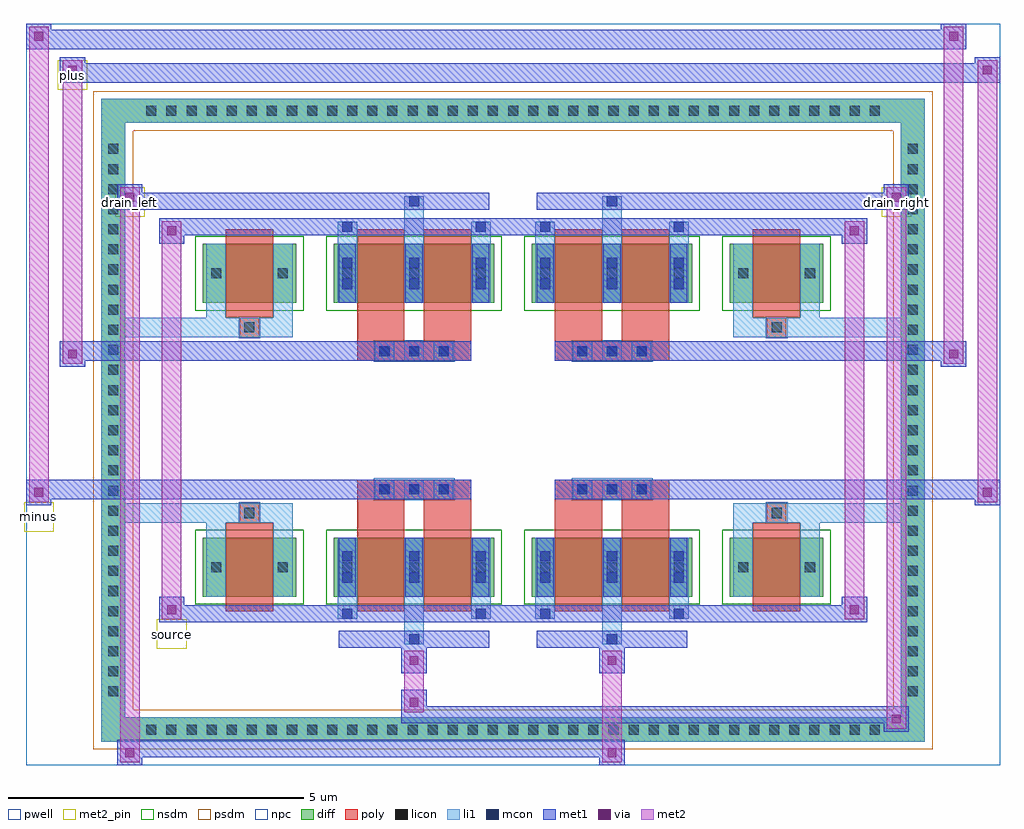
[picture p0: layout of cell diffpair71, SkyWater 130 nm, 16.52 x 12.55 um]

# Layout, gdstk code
import gdstk
lib = gdstk.Library(unit=1e-6, precision=5e-09)
def R(c, l, rs):  # rectangles x0, y0, x1, y1
    for r in rs: c.add(gdstk.rectangle(r[:2], r[2:], *l))
def A(c, l, x, y, w, h, nx, ny, dx, dy):  # array of equal rectangles
    R(c, l, [(x+i*dx, y+j*dy, x+i*dx+w, y+j*dy+h) for i in range(nx) for j in range(ny)])
def P(c, l, *ps):  # polygons
    for p in ps: c.add(gdstk.Polygon(p, *l))
pwell = (64, 44)
diff = (65, 20)
poly = (66, 20)
licon = (66, 44)
li1 = (67, 20)
mcon = (67, 44)
met1 = (68, 20)
via = (68, 44)
met2_pin = (69, 16)
met2 = (69, 20)
nsdm = (93, 44)
psdm = (94, 20)
npc = (95, 20)

diffpair71 = lib.new_cell('diffpair71')
R(diffpair71, pwell, [(-8.24,-5.84,8.24,6.71), (-5.56,-4.03,-0.01,-0.805), (0.01,-4.03,5.56,-0.805), (-5.56,0.805,-0.01,4.03), (0.01,0.805,5.56,4.03)])
A(diffpair71, diff, -6.325, -5.44, 0.41, 0.41, 37, 2, 0.34, 10.47)
A(diffpair71, diff, -6.97, -4.795, 0.41, 0.41, 1, 28, 0, 0.34)
A(diffpair71, diff, 6.56, -4.795, 0.41, 0.41, 1, 28, 0, 0.34)
R(diffpair71, diff, [(-6.325,-5.44,6.325,-5.03), (-6.97,-4.795,-6.56,4.795), (6.56,-4.795,6.97,4.795), (-5.25,-2.985,-3.67,-1.985), (-3.03,-2.985,-0.32,-1.985), (0.32,-2.985,3.03,-1.985), (3.67,-2.985,5.25,-1.985), (-5.25,1.985,-3.67,2.985), (-3.03,1.985,-0.32,2.985), (0.32,1.985,3.03,2.985), (3.67,1.985,5.25,2.985), (-6.325,5.03,6.325,5.44)])
P(diffpair71, diff, [(6.97,5.44),(-6.97,5.44),(-6.97,-5.03),(-6.56,-5.03),(-6.56,5.03),(6.56,5.03),(6.56,-5.03),(-6.56,-5.03),(-6.97,-5.03),(-6.97,-5.44),(6.97,-5.44)])
A(diffpair71, poly, -2.34, -1.335, 0.33, 0.33, 3, 2, 0.5, 2.34)
A(diffpair71, poly, 1.01, -1.335, 0.33, 0.33, 3, 2, 0.5, 2.34)
R(diffpair71, poly, [(-4.86,-3.235,-4.06,-1.735), (-2.64,-3.235,-1.84,-1.735), (-1.51,-3.235,-0.71,-1.735), (0.71,-3.235,1.51,-1.735), (1.84,-3.235,2.64,-1.735), (4.06,-3.235,4.86,-1.735), (-4.625,-1.735,-4.295,-1.405), (-4.625,-1.735,-4.295,-1.405), (-2.64,-1.735,-1.84,-1.335), (-1.51,-1.735,-0.71,-1.335), (0.71,-1.735,1.51,-1.335), (1.84,-1.735,2.64,-1.335), (4.295,-1.735,4.625,-1.405), (4.295,-1.735,4.625,-1.405), (-2.64,-1.335,-0.71,-1.005), (0.71,-1.335,2.64,-1.005), (-2.64,1.005,-0.71,1.335), (0.71,1.005,2.64,1.335), (-2.64,1.335,-1.84,1.735), (-1.51,1.335,-0.71,1.735), (0.71,1.335,1.51,1.735), (1.84,1.335,2.64,1.735), (-4.625,1.405,-4.295,1.735), (-4.625,1.405,-4.295,1.735), (4.295,1.405,4.625,1.735), (4.295,1.405,4.625,1.735), (-4.86,1.735,-4.06,3.235), (-2.64,1.735,-1.84,3.235), (-1.51,1.735,-0.71,3.235), (0.71,1.735,1.51,3.235), (1.84,1.735,2.64,3.235), (4.06,1.735,4.86,3.235)])
A(diffpair71, licon, -6.205, -5.32, 0.17, 0.17, 37, 2, 0.34, 10.47)
A(diffpair71, licon, -6.85, -4.675, 0.17, 0.17, 1, 28, 0, 0.34)
A(diffpair71, licon, 6.68, -4.675, 0.17, 0.17, 1, 28, 0, 0.34)
A(diffpair71, licon, -2.89, -2.57, 0.17, 0.17, 3, 2, 1.13, 4.97)
A(diffpair71, licon, 0.46, -2.57, 0.17, 0.17, 3, 2, 1.13, 4.97)
A(diffpair71, licon, -2.26, -1.255, 0.17, 0.17, 3, 2, 0.5, 2.34)
A(diffpair71, licon, 1.09, -1.255, 0.17, 0.17, 3, 2, 0.5, 2.34)
R(diffpair71, licon, [(-5.11,-2.57,-4.94,-2.4), (-3.98,-2.57,-3.81,-2.4), (3.81,-2.57,3.98,-2.4), (4.94,-2.57,5.11,-2.4), (-4.545,-1.655,-4.375,-1.485), (4.375,-1.655,4.545,-1.485), (-4.545,1.485,-4.375,1.655), (4.375,1.485,4.545,1.655), (-5.11,2.4,-4.94,2.57), (-3.98,2.4,-3.81,2.57), (3.81,2.4,3.98,2.57), (4.94,2.4,5.11,2.57)])
A(diffpair71, li1, -6.285, -5.4, 0.33, 0.33, 37, 2, 0.34, 10.47)
A(diffpair71, li1, -6.93, -4.755, 0.33, 0.33, 1, 28, 0, 0.34)
A(diffpair71, li1, 6.6, -4.755, 0.33, 0.33, 1, 28, 0, 0.34)
A(diffpair71, li1, -2.97, -2.985, 0.33, 1, 3, 2, 1.13, 4.97)
A(diffpair71, li1, 0.38, -2.985, 0.33, 1, 3, 2, 1.13, 4.97)
A(diffpair71, li1, -2.89, -2.75, 0.17, 0.17, 3, 2, 1.13, 0.36)
A(diffpair71, li1, -2.89, -2.75, 0.17, 0.53, 3, 2, 1.13, 4.97)
A(diffpair71, li1, 0.46, -2.75, 0.17, 0.17, 3, 2, 1.13, 0.36)
A(diffpair71, li1, 0.46, -2.75, 0.17, 0.53, 3, 2, 1.13, 4.97)
A(diffpair71, li1, -2.97, -2.65, 0.33, 0.33, 3, 2, 1.13, 4.97)
A(diffpair71, li1, 0.38, -2.65, 0.33, 0.33, 3, 2, 1.13, 4.97)
A(diffpair71, li1, -2.34, -1.335, 0.33, 0.33, 3, 2, 0.5, 2.34)
A(diffpair71, li1, 1.01, -1.335, 0.33, 0.33, 3, 2, 0.5, 2.34)
A(diffpair71, li1, -2.89, 2.22, 0.17, 0.17, 3, 2, 1.13, 0.36)
A(diffpair71, li1, 0.46, 2.22, 0.17, 0.17, 3, 2, 1.13, 0.36)
R(diffpair71, li1, [(-6.97,-5.44,-6.56,-5.03), (-6.97,-5.44,-6.56,-5.03), (-6.56,-5.44,6.56,-5.03), (6.56,-5.44,6.97,-5.03), (6.56,-5.44,6.97,-5.03), (-6.97,-5.03,-6.56,5.03), (6.56,-5.03,6.97,5.03), (-1.84,-3.79,-1.51,-2.985), (-1.76,-3.79,-1.59,-3.62), (1.51,-3.79,1.84,-2.985), (1.59,-3.79,1.76,-3.62), (-2.97,-3.36,-2.64,-2.985), (-2.89,-3.36,-2.72,-3.19), (-0.71,-3.36,-0.38,-2.985), (-0.63,-3.36,-0.46,-3.19), (0.38,-3.36,0.71,-2.985), (0.46,-3.36,0.63,-3.19), (2.64,-3.36,2.97,-2.985), (2.72,-3.36,2.89,-3.19), (-5.19,-2.985,-4.86,-1.985), (-4.06,-2.985,-3.73,-1.985), (3.73,-2.985,4.06,-1.985), (4.86,-2.985,5.19,-1.985), (-5.19,-2.65,-4.86,-2.32), (-4.06,-2.65,-3.73,-2.32), (3.73,-2.65,4.06,-2.32), (4.86,-2.65,5.19,-2.32), (-5.19,-1.985,-4.86,-1.405), (-4.06,-1.985,-3.73,-1.405), (3.73,-1.985,4.06,-1.405), (4.86,-1.985,5.19,-1.405), (-6.97,-1.735,-4.625,-1.405), (-5.19,-1.735,-4.625,-1.405), (-4.625,-1.735,-4.295,-1.405), (-4.295,-1.735,-3.73,-1.405), (3.73,-1.735,4.295,-1.405), (4.295,-1.735,4.625,-1.405), (4.295,-1.735,6.97,-1.405), (4.625,-1.735,5.19,-1.405), (-6.97,1.405,-4.625,1.735), (-5.19,1.405,-4.625,1.735), (-5.19,1.405,-4.86,1.985), (-4.625,1.405,-4.295,1.735), (-4.295,1.405,-3.73,1.735), (-4.06,1.405,-3.73,1.985), (3.73,1.405,4.295,1.735), (3.73,1.405,4.06,1.985), (4.295,1.405,4.625,1.735), (4.295,1.405,6.97,1.735), (4.625,1.405,5.19,1.735), (4.86,1.405,5.19,1.985), (-5.19,1.985,-4.86,2.985), (-4.06,1.985,-3.73,2.985), (3.73,1.985,4.06,2.985), (4.86,1.985,5.19,2.985), (-5.19,2.32,-4.86,2.65), (-4.06,2.32,-3.73,2.65), (3.73,2.32,4.06,2.65), (4.86,2.32,5.19,2.65), (-2.97,2.985,-2.64,3.36), (-1.84,2.985,-1.51,3.79), (-0.71,2.985,-0.38,3.36), (0.38,2.985,0.71,3.36), (1.51,2.985,1.84,3.79), (2.64,2.985,2.97,3.36), (-2.89,3.19,-2.72,3.36), (-0.63,3.19,-0.46,3.36), (0.46,3.19,0.63,3.36), (2.72,3.19,2.89,3.36), (-1.76,3.62,-1.59,3.79), (1.59,3.62,1.76,3.79), (-6.97,5.03,-6.56,5.44), (-6.97,5.03,-6.56,5.44), (-6.56,5.03,6.56,5.44), (6.56,5.03,6.97,5.44), (6.56,5.03,6.97,5.44)])
A(diffpair71, mcon, -2.89, -2.75, 0.17, 0.17, 3, 2, 1.13, 0.36)
A(diffpair71, mcon, 0.46, -2.75, 0.17, 0.17, 3, 2, 1.13, 0.36)
A(diffpair71, mcon, -2.26, -1.255, 0.17, 0.17, 3, 2, 0.5, 2.34)
A(diffpair71, mcon, 1.09, -1.255, 0.17, 0.17, 3, 2, 0.5, 2.34)
A(diffpair71, mcon, -2.89, 2.22, 0.17, 0.17, 3, 2, 1.13, 0.36)
A(diffpair71, mcon, 0.46, 2.22, 0.17, 0.17, 3, 2, 1.13, 0.36)
R(diffpair71, mcon, [(-1.76,-3.79,-1.59,-3.62), (1.59,-3.79,1.76,-3.62), (-2.89,-3.36,-2.72,-3.19), (-0.63,-3.36,-0.46,-3.19), (0.46,-3.36,0.63,-3.19), (2.72,-3.36,2.89,-3.19), (-2.89,3.19,-2.72,3.36), (-0.63,3.19,-0.46,3.36), (0.46,3.19,0.63,3.36), (2.72,3.19,2.89,3.36), (-1.76,3.62,-1.59,3.79), (1.59,3.62,1.76,3.79)])
A(diffpair71, met1, -2.95, -2.985, 0.29, 1, 3, 2, 1.13, 4.97)
A(diffpair71, met1, 0.4, -2.985, 0.29, 1, 3, 2, 1.13, 4.97)
A(diffpair71, met1, -2.95, -2.81, 0.29, 0.29, 3, 2, 1.13, 0.36)
A(diffpair71, met1, 0.4, -2.81, 0.29, 0.29, 3, 2, 1.13, 0.36)
A(diffpair71, met1, -2.32, -1.315, 0.29, 0.29, 3, 2, 0.5, 2.34)
A(diffpair71, met1, 1.03, -1.315, 0.29, 0.29, 3, 2, 0.5, 2.34)
A(diffpair71, met1, -2.95, 2.16, 0.29, 0.29, 3, 2, 1.13, 0.36)
A(diffpair71, met1, 0.4, 2.16, 0.29, 0.29, 3, 2, 1.13, 0.36)
R(diffpair71, met1, [(-6.7,-5.84,-6.27,-5.41), (1.46,-5.84,1.89,-5.41), (-6.7,-5.7,1.89,-5.41), (6.27,-5.27,6.7,-4.84), (-1.89,-5.13,6.7,-4.84), (-1.89,-4.99,-1.46,-4.56), (-1.89,-4.28,-1.46,-3.85), (1.46,-4.28,1.89,-3.85), (-2.95,-3.85,-0.4,-3.56), (-1.82,-3.85,-1.53,-3.56), (0.4,-3.85,2.95,-3.56), (1.53,-3.85,1.82,-3.56), (-5.99,-3.42,-5.56,-2.99), (-5.99,-3.42,-2.95,-3.13), (-2.95,-3.42,-2.66,-3.13), (-2.95,-3.42,-0.4,-3.13), (-0.69,-3.42,-0.4,-3.13), (-0.4,-3.42,0.4,-3.13), (0.4,-3.42,0.69,-3.13), (0.4,-3.42,2.95,-3.13), (2.66,-3.42,2.95,-3.13), (2.95,-3.42,5.99,-3.13), (5.56,-3.42,5.99,-2.99), (-8.24,-1.435,-7.81,-1.005), (7.81,-1.435,8.24,-1.005), (-8.24,-1.335,-0.71,-1.005), (-2.64,-1.335,-0.71,-1.005), (0.71,-1.335,2.64,-1.005), (0.71,-1.335,8.24,-1.005), (-7.67,0.905,-7.24,1.335), (7.24,0.905,7.67,1.335), (-7.67,1.005,-2.64,1.335), (-2.64,1.005,-0.71,1.335), (0.71,1.005,2.64,1.335), (2.64,1.005,7.67,1.335), (-5.99,2.99,-5.56,3.42), (5.56,2.99,5.99,3.42), (-5.99,3.13,-2.95,3.42), (-2.95,3.13,-2.66,3.42), (-2.95,3.13,-0.4,3.42), (-0.69,3.13,-0.4,3.42), (-0.4,3.13,0.4,3.42), (0.4,3.13,0.69,3.42), (0.4,3.13,2.95,3.42), (2.66,3.13,2.95,3.42), (2.95,3.13,5.99,3.42), (-6.7,3.56,-6.27,3.99), (-6.7,3.56,-2.95,3.85), (-2.95,3.56,-0.4,3.85), (-1.82,3.56,-1.53,3.85), (0.4,3.56,2.95,3.85), (1.53,3.56,1.82,3.85), (2.95,3.56,6.7,3.85), (6.27,3.56,6.7,3.99), (-7.67,5.71,-7.24,6.14), (-7.67,5.71,-5.56,6.04), (-5.56,5.71,5.56,6.04), (5.56,5.71,8.24,6.04), (7.81,5.71,8.24,6.14), (-8.24,6.28,-7.81,6.71), (-8.24,6.28,-5.56,6.61), (-5.56,6.28,5.56,6.61), (5.56,6.28,7.67,6.61), (7.24,6.28,7.67,6.71)])
R(diffpair71, via, [(-6.56,-5.7,-6.41,-5.55), (1.6,-5.7,1.75,-5.55), (6.41,-5.13,6.56,-4.98), (-1.75,-4.85,-1.6,-4.7), (-1.75,-4.14,-1.6,-3.99), (1.6,-4.14,1.75,-3.99), (-5.85,-3.28,-5.7,-3.13), (5.7,-3.28,5.85,-3.13), (-8.1,-1.295,-7.95,-1.145), (7.95,-1.295,8.1,-1.145), (-7.53,1.045,-7.38,1.195), (7.38,1.045,7.53,1.195), (-5.85,3.13,-5.7,3.28), (5.7,3.13,5.85,3.28), (-6.56,3.7,-6.41,3.85), (6.41,3.7,6.56,3.85), (-7.53,5.85,-7.38,6), (7.95,5.85,8.1,6), (-8.1,6.42,-7.95,6.57), (7.38,6.42,7.53,6.57)])
R(diffpair71, met2_pin, [(-6.025,-3.87,-5.525,-3.37), (-8.275,-1.885,-7.775,-1.385), (-6.735,3.44,-6.235,3.94), (6.235,3.44,6.735,3.94), (-7.705,5.59,-7.205,6.09)])
R(diffpair71, met2, [(-6.65,-5.79,-6.32,-5.46), (-6.65,-5.79,-6.32,3.94), (1.51,-5.79,1.84,-5.46), (1.51,-5.46,1.84,-4.23), (6.32,-5.22,6.65,-4.89), (6.32,-5.22,6.65,3.94), (-1.84,-4.94,-1.51,-4.61), (-1.84,-4.61,-1.51,-4.23), (-1.84,-4.23,-1.51,-3.9), (1.51,-4.23,1.84,-3.9), (-5.94,-3.37,-5.61,-3.04), (-5.94,-3.37,-5.61,3.37), (5.61,-3.37,5.94,-3.04), (5.61,-3.37,5.94,3.37), (-8.19,-1.385,-7.86,-1.055), (-8.19,-1.385,-7.86,6.66), (7.86,-1.385,8.19,-1.055), (7.86,-1.385,8.19,6.09), (-7.62,0.955,-7.29,1.285), (-7.62,0.955,-7.29,6.09), (7.29,0.955,7.62,1.285), (7.29,0.955,7.62,6.66), (-5.94,3.04,-5.61,3.37), (5.61,3.04,5.94,3.37), (-6.65,3.61,-6.32,3.94), (6.32,3.61,6.65,3.94), (-7.62,5.76,-7.29,6.09), (7.86,5.76,8.19,6.09), (-8.19,6.33,-7.86,6.66), (7.29,6.33,7.62,6.66)])
P(diffpair71, met2, [(8.19,-1.385),(8.19,-1.385),(8.19,-1.055),(8.19,-1.055)],
  [(8.19,5.76),(8.19,5.76),(8.19,6.09),(8.19,6.09)],
  [(-7.86,-1.385),(-7.86,-1.385),(-7.86,-1.055),(-7.86,-1.055)],
  [(-7.86,6.33),(-7.86,6.33),(-7.86,6.66),(-7.86,6.66)],
  [(7.62,0.955),(7.62,0.955),(7.62,1.285),(7.62,1.285)],
  [(7.62,6.33),(7.62,6.33),(7.62,6.66),(7.62,6.66)],
  [(-7.29,0.955),(-7.29,0.955),(-7.29,1.285),(-7.29,1.285)],
  [(-7.29,5.76),(-7.29,5.76),(-7.29,6.09),(-7.29,6.09)],
  [(-6.32,-5.79),(-6.32,-5.79),(-6.32,-5.46),(-6.32,-5.46)],
  [(-6.32,3.61),(-6.32,3.61),(-6.32,3.94),(-6.32,3.94)],
  [(6.65,-5.22),(6.65,-5.22),(6.65,-4.89),(6.65,-4.89)],
  [(6.65,3.61),(6.65,3.61),(6.65,3.94),(6.65,3.94)],
  [(-5.61,-3.37),(-5.61,-3.37),(-5.61,-3.04),(-5.61,-3.04)],
  [(-5.61,3.04),(-5.61,3.04),(-5.61,3.37),(-5.61,3.37)],
  [(5.94,-3.37),(5.94,-3.37),(5.94,-3.04),(5.94,-3.04)],
  [(5.94,3.04),(5.94,3.04),(5.94,3.37),(5.94,3.37)])
R(diffpair71, nsdm, [(-5.38,-3.115,-3.54,-1.855), (-3.16,-3.115,-0.19,-1.855), (0.19,-3.115,3.16,-1.855), (3.54,-3.115,5.38,-1.855), (-5.38,1.855,-3.54,3.115), (-3.16,1.855,-0.19,3.115), (0.19,1.855,3.16,3.115), (3.54,1.855,5.38,3.115)])
P(diffpair71, psdm, [(7.1,5.57),(-7.1,5.57),(-7.1,-4.9),(-6.43,-4.9),(-6.43,4.9),(6.43,4.9),(6.43,-4.9),(-6.43,-4.9),(-7.1,-4.9),(-7.1,-5.57),(7.1,-5.57)])
A(diffpair71, npc, -2.36, -1.355, 0.37, 0.37, 3, 2, 0.5, 2.34)
A(diffpair71, npc, 0.99, -1.355, 0.37, 0.37, 3, 2, 0.5, 2.34)
R(diffpair71, npc, [(-4.645,-1.755,-4.275,-1.385), (4.275,-1.755,4.645,-1.385), (-2.36,-1.355,-1.49,-0.985), (-2.36,-1.355,-1.49,-0.985), (-1.86,-1.355,-0.99,-0.985), (-1.86,-1.355,-0.99,-0.985), (0.99,-1.355,1.86,-0.985), (0.99,-1.355,1.86,-0.985), (1.49,-1.355,2.36,-0.985), (1.49,-1.355,2.36,-0.985), (-2.36,0.985,-1.49,1.355), (-2.36,0.985,-1.49,1.355), (-1.86,0.985,-0.99,1.355), (-1.86,0.985,-0.99,1.355), (0.99,0.985,1.86,1.355), (0.99,0.985,1.86,1.355), (1.49,0.985,2.36,1.355), (1.49,0.985,2.36,1.355), (-4.645,1.385,-4.275,1.755), (4.275,1.385,4.645,1.755)])
diffpair71.add(gdstk.Label('minus', (-8.025,-1.635), layer=69, texttype=5))
diffpair71.add(gdstk.Label('drain_right', (6.485,3.69), layer=69, texttype=5))
diffpair71.add(gdstk.Label('drain_left', (-6.485,3.69), layer=69, texttype=5))
diffpair71.add(gdstk.Label('source', (-5.775,-3.62), layer=69, texttype=5))
diffpair71.add(gdstk.Label('plus', (-7.455,5.84), layer=69, texttype=5))

lib.write_gds('diffpair71.gds')
